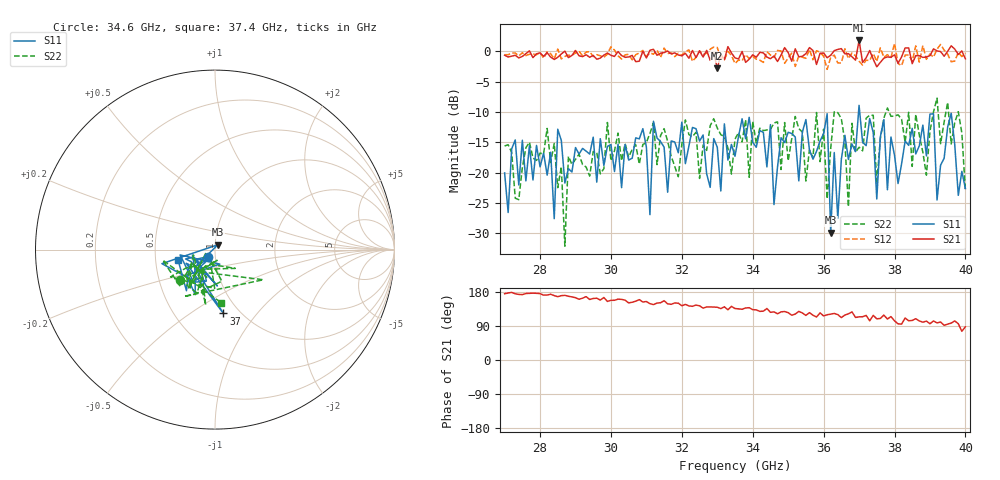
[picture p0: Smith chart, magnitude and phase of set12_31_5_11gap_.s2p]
! Quiescent point : V1=-1.65691E-02 I1=+1.31515E-03 V2=-2.27301E-02 I2=-1.28967E-03
! Pulsed point : V1=-1.66812E-02 I1=+1.31656E-03 V2=-2.26876E-02 I2=-1.28755E-03
! Period : +2.00000E-04
! Input Supply timing : delay=+1.60000E-06 width=+2.20000E-06
! Output Supply timing : delay=+1.70000E-06 width=+2.00000E-06
! VNA timing : delay=+2.40000E-06 width=+1.10000E-06
# Hz S RI R 50
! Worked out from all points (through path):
!   131 points, 27 GHz to 40 GHz, reference 50 ohm
!   highest |S21| = 1.80 dB at 37 GHz (marker M1); lowest = -2.8 dB at 33 GHz (marker M2)
!   group delay of S21, straight-line fit = 18.3 ps
!   lowest |S11| = -29.9 dB at 36.2 GHz (marker M3), VSWR 1.07, Z = 51.6 + j2.82 ohm
!   |S11| at or under -10 dB: start of sweep to 36.99 GHz; 37.02 GHz to end of sweep
!   |S22| runs from -32.1 to -7.7 dB; largest |S21 - S12| = 0.46
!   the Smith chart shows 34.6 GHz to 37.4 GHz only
!   S11 on the Smith chart (normalised r, x): 34.6 GHz: 0.92, -0.07; 37 GHz: 0.84, -0.69; 37.4 GHz: 0.66, -0.08
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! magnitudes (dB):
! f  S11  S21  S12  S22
! 27 GHz  -20.1  -0.6  -0.5  -15.6
! 28.2 GHz  -20.4  -0.2  -0.1  -12.7
! 28.7 GHz  -21.7  0.0  -0.8  -32.1
! 28.8 GHz  -19.4  -1.0  -0.6  -17.3
! 29.2 GHz  -16.0  -0.9  -0.7  -18.7
! 31.1 GHz  -26.9  0.2  -0.2  -13.5
! 31.4 GHz  -14.9  -0.3  -1.0  -13.9
! 33 GHz  -15.8  -2.8  0.6  -12.6
! 33.5 GHz  -17.3  -1.1  -2.0  -14.5
! 34.5 GHz  -12.1  -1.2  -0.6  -12.9
! 34.6 GHz  -25.3  -0.8  -1.0  -11.8
! 35.7 GHz  -17.8  0.1  -1.4  -17.5
! 36.1 GHz  -10.3  -1.0  -3.0  -24.3
! 36.2 GHz  -29.9  -0.6  -1.0  -16.0
! 37 GHz  -8.9  1.8  -1.6  -15.8
! 37.4 GHz  -13.4  -1.3  -0.3  -10.5
! 37.9 GHz  -14.1  -1.0  -1.0  -10.7
! 39.1 GHz  -10.3  0.4  -1.0  -10.0
! 39.2 GHz  -24.5  0.1  0.4  -7.7
! 39.6 GHz  -10.2  0.9  -1.7  -15.3
! 39.8 GHz  -23.7  -0.5  -0.2  -9.9
! 40 GHz  -22.6  -1.2  -0.3  -23.0
